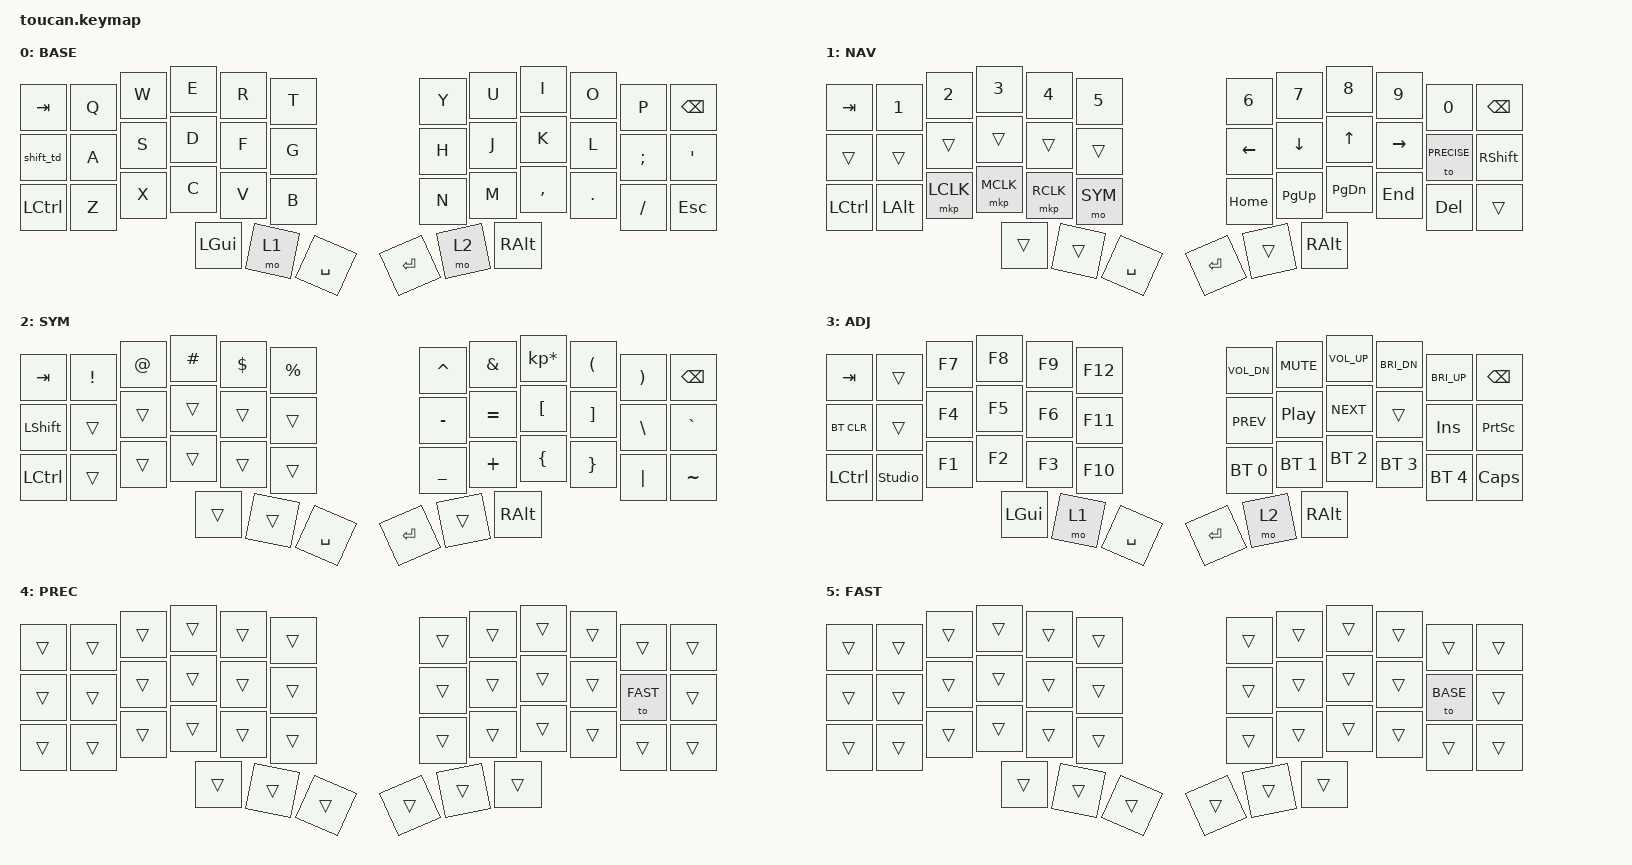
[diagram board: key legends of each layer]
#include <behaviors.dtsi>
#include <dt-bindings/zmk/keys.h>
#include <dt-bindings/zmk/bt.h>
#include <dt-bindings/zmk/outputs.h>
#include <dt-bindings/zmk/pointing.h>

#define BASE    0
#define NAV     1
#define SYM     2
#define ADJ     3
#define PRECISE 4
#define FAST    5

/ {
    conditional_layers {
        compatible = "zmk,conditional-layers";
        tri_layer {
            if-layers = <1 2>;
            then-layer = <3>;
        };
    };

    behaviors {
        toucan_caps_word: toucan_caps_word {
            compatible = "toucan,behavior-caps-word";
            #binding-cells = <0>;
            continue-list = <UNDERSCORE BACKSPACE DELETE>;
            display-name = "Caps Word";
        };

        // 1 tap = LSHFT, 2 taps = caps_word, 3 taps = CAPS lock.
        // Tap-dance commits immediately when a non-tap-dance key is
        // pressed, so shift+letter typing isn't delayed -- the only
        // case that waits the full tapping-term-ms is press-and-hold
        // of shift alone (e.g. shift-click on the trackpad).
        shift_td: shift_td {
            compatible = "zmk,behavior-tap-dance";
            #binding-cells = <0>;
            tapping-term-ms = <200>;
            bindings = <&kp LSHFT>, <&toucan_caps_word>, <&kp CAPS>;
        };
    };

    keymap {
        compatible = "zmk,keymap";

        base {
            display-name = "BASE";
            bindings = <
                &kp TAB   &kp Q &kp W &kp E &kp R &kp T   &kp Y &kp U  &kp I     &kp O   &kp P    &kp BSPC
                &shift_td &kp A &kp S &kp D &kp F &kp G   &kp H &kp J  &kp K     &kp L   &kp SEMI &kp SQT
                &kp LCTRL &kp Z &kp X &kp C &kp V &kp B   &kp N &kp M  &kp COMMA &kp DOT &kp FSLH &kp ESC
                                &kp LGUI &mo 1 &kp SPACE   &kp RET &mo 2 &kp RALT
            >;
        };

        nav {
            display-name = "NAV";
            bindings = <
                &kp TAB     &kp N1          &kp N2       &kp N3       &kp N4       &kp N5         &kp N6    &kp N7   &kp N8 &kp N9    &kp N0 &kp BSPC
                &trans      &trans    &trans &trans &trans &trans   &kp LEFT  &kp DOWN  &kp UP    &kp RIGHT &to PRECISE &kp RSHFT
                &kp LCTRL   &kp LALT  &mkp LCLK       &mkp MCLK      &mkp RCLK       &mo SYM      &kp HOME &kp PG_UP  &kp PG_DN &kp END &kp DEL     &trans
                                                &trans        &trans       &kp SPACE      &kp RET  &trans   &kp RALT
            >;
        };

        sym {
            display-name = "SYM";
            bindings = <
                &kp TAB   &kp EXCL &kp AT &kp HASH &kp DLLR &kp PRCNT   &kp CARET &kp AMPS  &kp KP_MULTIPLY &kp LPAR &kp RPAR &kp BSPC
                &kp LSHFT &trans   &trans &trans   &trans   &trans      &kp MINUS &kp EQUAL &kp LBKT        &kp RBKT &kp BSLH &kp GRAVE
                &kp LCTRL &trans   &trans &trans   &trans   &trans      &kp UNDER &kp PLUS  &kp LBRC        &kp RBRC &kp PIPE &kp TILDE
                                          &trans    &trans   &kp SPACE   &kp RET   &trans    &kp RALT
            >;
        };

        adj {
            display-name = "ADJ";
            bindings = <
                &kp TAB   &trans &kp F7 &kp F8 &kp F9 &kp F12   &kp C_VOL_DN &kp C_MUTE  &kp C_VOL_UP &kp C_BRI_DN &kp C_BRI_UP &kp BSPC
                &bt BT_CLR &trans &kp F4 &kp F5 &kp F6 &kp F11   &kp C_PREV   &kp C_PP    &kp C_NEXT   &trans &kp INS &kp PSCRN
                &kp LCTRL &studio_unlock &kp F1 &kp F2 &kp F3 &kp F10   &bt BT_SEL 0 &bt BT_SEL 1      &bt BT_SEL 2 &bt BT_SEL 3 &bt BT_SEL 4 &kp CAPS
                                   &kp LGUI &mo 1 &kp SPACE   &kp RET &mo 2 &kp RALT
            >;
        };
        precise {
            display-name = "PREC";
            bindings = <
                &trans &trans &trans &trans &trans &trans   &trans &trans &trans &trans &trans   &trans
                &trans &trans &trans &trans &trans &trans   &trans &trans &trans &trans &to FAST &trans
                &trans &trans &trans &trans &trans &trans   &trans &trans &trans &trans &trans   &trans
                                     &trans &trans &trans   &trans &trans &trans
            >;
        };

        fast {
            display-name = "FAST";
            bindings = <
                &trans &trans &trans &trans &trans &trans   &trans &trans &trans &trans &trans   &trans
                &trans &trans &trans &trans &trans &trans   &trans &trans &trans &trans &to BASE &trans
                &trans &trans &trans &trans &trans &trans   &trans &trans &trans &trans &trans   &trans
                                     &trans &trans &trans   &trans &trans &trans
            >;
        };

        extra_3 {
                status = "reserved";
        };
    };
};
